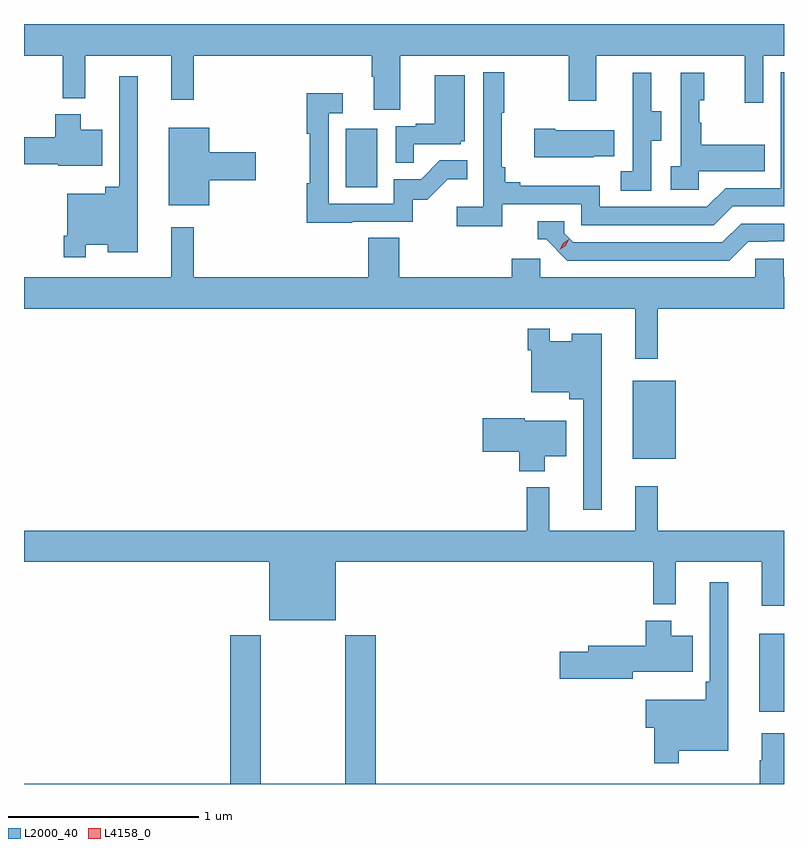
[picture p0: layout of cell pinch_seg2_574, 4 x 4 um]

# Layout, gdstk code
import gdstk
lib = gdstk.Library(unit=1e-6, precision=1e-09)
def R(c, l, rs):  # rectangles x0, y0, x1, y1
    for r in rs: c.add(gdstk.rectangle(r[:2], r[2:], *l))
def P(c, l, *ps):  # polygons
    for p in ps: c.add(gdstk.Polygon(p, *l))
L2000_40 = (2000, 40)
L4158_0 = (4158, 0)

pinch_seg2_574 = lib.new_cell('pinch_seg2_574')
R(pinch_seg2_574, L2000_40, [(1059.269,613.547,1059.4,613.957), (1058.603,614.879,1058.83,615.289), (1057.094,616.308,1057.258,616.615)])
P(pinch_seg2_574, L2000_40, [(1057.381,617),(1058.266,617),(1058.266,616.761),(1058.413,616.761),(1058.413,617),(1059.194,617),(1059.194,616.752),(1059.291,616.752),(1059.291,617),(1059.4,617),(1059.4,617.164),(1058.498,617.164),(1058.498,617.166),(1058.345,617.166),(1058.345,617.164),(1057.461,617.164),(1057.461,617.166),(1057.313,617.166),(1057.313,617.164),(1056.533,617.164),(1056.533,617.166),(1056.435,617.166),(1056.435,617.164),(1055.4,617.164),(1055.4,617),(1055.605,617),(1055.605,616.775),(1055.723,616.775),(1055.723,617),(1056.176,617),(1056.176,616.767),(1056.293,616.767),(1056.293,617),(1057.229,617),(1057.229,616.888),(1057.241,616.888),(1057.241,616.714),(1057.381,616.714)],
  [(1057.916,616.218),(1058.334,616.218),(1058.334,616.107),(1059.031,616.107),(1059.13,616.206),(1059.4,616.206),(1059.4,616.911),(1059.384,616.911),(1059.384,616.302),(1059.093,616.302),(1058.994,616.203),(1058.43,616.203),(1058.43,616.315),(1058.011,616.315),(1058.011,616.334),(1057.934,616.334),(1057.934,616.411),(1057.915,616.411),(1057.915,616.699),(1057.927,616.699),(1057.927,616.912),(1057.818,616.912),(1057.818,616.204),(1057.677,616.204),(1057.677,616.102),(1057.916,616.102)],
  [(1058.952,616.391),(1059.299,616.391),(1059.299,616.531),(1058.965,616.531),(1058.965,616.646),(1058.955,616.646),(1058.955,616.764),(1058.98,616.764),(1058.98,616.909),(1058.856,616.909),(1058.856,616.418),(1058.805,616.418),(1058.805,616.293),(1058.952,616.293)],
  [(1058.7,616.552),(1058.755,616.552),(1058.755,616.707),(1058.701,616.707),(1058.701,616.909),(1058.603,616.909),(1058.603,616.695),(1058.604,616.695),(1058.604,616.391),(1058.541,616.391),(1058.541,616.288),(1058.7,616.288)],
  [(1057.451,616.533),(1057.698,616.533),(1057.698,616.548),(1057.72,616.548),(1057.72,616.897),(1057.562,616.897),(1057.562,616.642),(1057.463,616.642),(1057.463,616.629),(1057.356,616.629),(1057.356,616.435),(1057.451,616.435)],
  [(1055.724,616.004),(1055.84,616.004),(1055.84,615.965),(1055.998,615.965),(1055.998,616.891),(1055.901,616.891),(1055.901,616.309),(1055.828,616.309),(1055.828,616.273),(1055.628,616.273),(1055.628,616.051),(1055.608,616.051),(1055.608,615.939),(1055.724,615.939)],
  [(1057.127,616.125),(1057.446,616.125),(1057.446,616.242),(1057.522,616.242),(1057.629,616.349),(1057.733,616.349),(1057.733,616.448),(1057.589,616.448),(1057.491,616.35),(1057.347,616.35),(1057.347,616.221),(1057.005,616.221),(1057.005,616.695),(1057.078,616.695),(1057.078,616.801),(1056.889,616.801),(1056.889,616.588),(1056.904,616.588),(1056.904,616.328),(1056.889,616.328),(1056.889,616.12),(1057.127,616.12)],
  [(1055.812,616.609),(1055.698,616.609),(1055.698,616.69),(1055.564,616.69),(1055.564,616.569),(1055.4,616.569),(1055.4,616.427),(1055.58,616.427),(1055.58,616.421),(1055.812,616.421)],
  [(1056.376,616.343),(1056.619,616.343),(1056.619,616.49),(1056.376,616.49),(1056.376,616.621),(1056.161,616.621),(1056.161,616.211),(1056.376,616.211)],
  [(1058.399,616.469),(1058.507,616.469),(1058.507,616.606),(1058.197,616.606),(1058.197,616.614),(1058.085,616.614),(1058.085,616.466),(1058.399,616.466)],
  [(1059.211,616.02),(1059.318,616.02),(1059.318,616.023),(1059.4,616.023),(1059.4,616.116),(1059.174,616.116),(1059.075,616.017),(1058.292,616.017),(1058.244,616.065),(1058.244,616.128),(1058.105,616.128),(1058.105,616.032),(1058.148,616.032),(1058.259,615.921),(1059.112,615.921)],
  [(1058.735,615.668),(1059.4,615.668),(1059.4,615.832),(1059.399,615.832),(1059.399,615.93),(1059.249,615.93),(1059.249,615.832),(1058.118,615.832),(1058.118,615.93),(1057.967,615.93),(1057.967,615.832),(1057.376,615.832),(1057.376,616.04),(1057.211,616.04),(1057.211,615.832),(1056.293,615.832),(1056.293,616.096),(1056.176,616.096),(1056.176,615.832),(1055.4,615.832),(1055.4,615.668),(1058.618,615.668),(1058.618,615.405),(1058.735,615.405)],
  [(1058.44,615.535),(1058.282,615.535),(1058.282,615.496),(1058.166,615.496),(1058.166,615.562),(1058.05,615.562),(1058.05,615.449),(1058.07,615.449),(1058.07,615.227),(1058.27,615.227),(1058.27,615.191),(1058.343,615.191),(1058.343,614.61),(1058.44,614.61)],
  [(1058.14,614.891),(1058.254,614.891),(1058.254,615.079),(1058.036,615.079),(1058.036,615.092),(1057.815,615.092),(1057.815,614.914),(1058.006,614.914),(1058.006,614.813),(1058.14,614.813)],
  [(1057.042,614.336),(1058.713,614.336),(1058.713,614.111),(1058.831,614.111),(1058.831,614.336),(1059.284,614.336),(1059.284,614.103),(1059.4,614.103),(1059.4,614.5),(1058.735,614.5),(1058.735,614.734),(1058.618,614.734),(1058.618,614.5),(1058.165,614.5),(1058.165,614.728),(1058.047,614.728),(1058.047,614.5),(1055.4,614.5),(1055.4,614.336),(1056.692,614.336),(1056.692,614.027),(1057.042,614.027)],
  [(1058.845,613.34),(1059.106,613.34),(1059.106,614.227),(1059.009,614.227),(1059.009,613.705),(1058.989,613.705),(1058.989,613.609),(1058.672,613.609),(1058.672,613.462),(1058.716,613.462),(1058.716,613.275),(1058.845,613.275)],
  [(1058.604,613.757),(1058.92,613.757),(1058.92,613.945),(1058.806,613.945),(1058.806,614.026),(1058.672,614.026),(1058.672,613.893),(1058.369,613.893),(1058.369,613.863),(1058.22,613.863),(1058.22,613.721),(1058.604,613.721)],
  [(1059.4,613.432),(1059.284,613.432),(1059.284,613.292),(1059.273,613.292),(1059.273,613.168),(1057.25,613.168),(1057.25,613.948),(1057.09,613.948),(1057.09,613.168),(1056.645,613.168),(1056.645,613.948),(1056.485,613.948),(1056.485,613.168),(1055.4,613.168),(1055.4,613.166),(1059.4,613.166)])
P(pinch_seg2_574, L4158_0, [(1058.22,615.979),(1058.22,615.979),(1058.237,616.012),(1058.268,616.032),(1058.268,616.032),(1058.268,616.032),(1058.251,615.999),(1058.22,615.979)])

lib.write_gds('pinch_seg2_574.gds')
